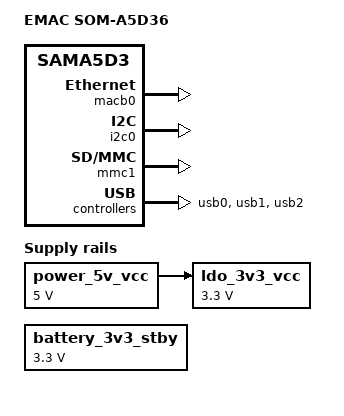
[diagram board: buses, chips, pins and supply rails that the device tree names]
// SPDX-License-Identifier: GPL-2.0-or-later
/*
 * som-a5d36.dts - Device Tree file for the SOM-A5D36.
 *
 * Copyright (C) 2023 EMAC Inc.
 *
 */

/dts-v1/;
#include "som-a5d36-bare.dtsi"

/ {
	model = "EMAC SOM-A5D36";
	compatible = "emac,soma5d36", "atmel,sama5d36", "atmel,sama5d3", "atmel,sama5";
	
	regulators {
		power_5v_vcc: power_5v_vcc {
			compatible = "regulator-fixed";
			regulator-name = "POWER";
			regulator-min-microvolt = <5000000>;
			regulator-max-microvolt = <5000000>;
			regulator-always-on;
		};
		ldo_3v3_vcc: ldo_3v3_vcc {
			compatible = "regulator-fixed";
			regulator-name = "3V3_LDO";
			regulator-min-microvolt = <3300000>;
			regulator-max-microvolt = <3300000>;
			regulator-always-on;
			vin-supply = <&power_5v_vcc>;
		};
		battery_3v3_stby: battery_3v3_stby {
			compatible = "regulator-fixed";
			regulator-name = "BATTERY";
			regulator-min-microvolt = <3300000>;
			regulator-max-microvolt = <3300000>;
			regulator-always-on;
		};
		rail_3v3_vcc {
			vin-supply = <&ldo_3v3_vcc>;
		};
		rail_3v3_stby {
			vin-supply = <&battery_3v3_stby>;
		};
	};
};

&macb0 {
	status = "okay";
};

&i2c0 {
	status = "okay";
};

&mmc1 {
	pinctrl-names = "default";
	pinctrl-0 = <&pinctrl_mmc1_clk_cmd_dat0 &pinctrl_mmc1_dat1_3>;
	status = "okay";
	slot@0 {
		reg = <0>;
		bus-width = <4>;
		cd-gpios = <&pioC 5 GPIO_ACTIVE_LOW>;
	};
};

&usb0 {
	status = "okay";
};

&usb1 {
	status = "okay";
};

&usb2 {
	status = "okay";
};
